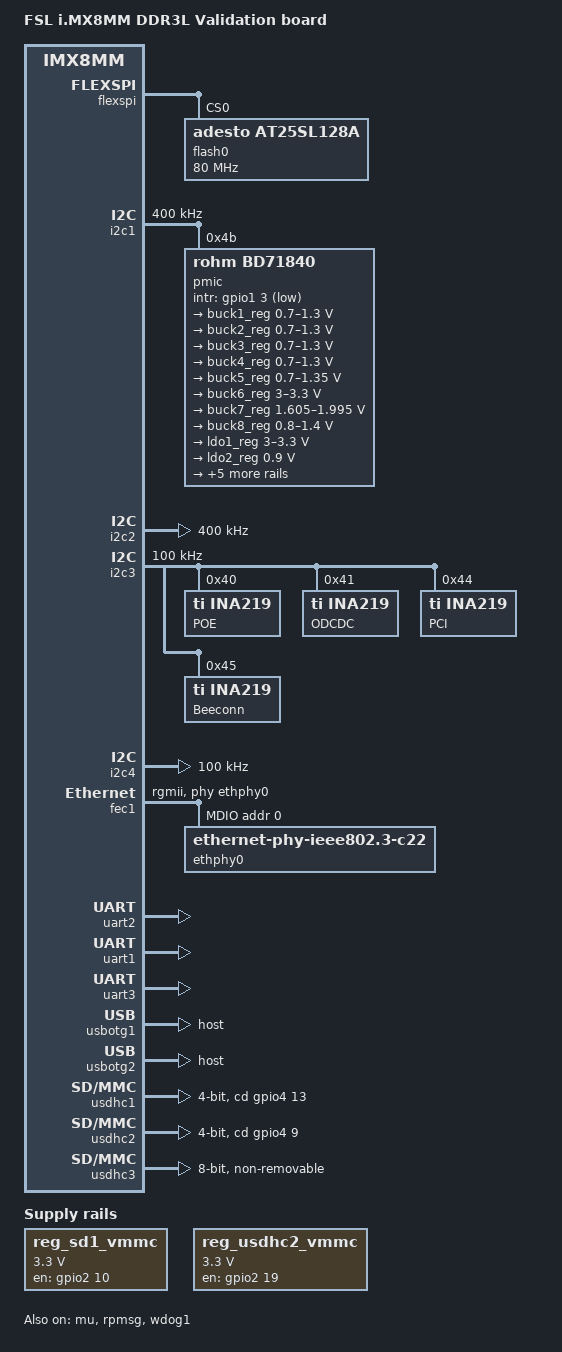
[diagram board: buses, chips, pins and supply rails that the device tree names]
// SPDX-License-Identifier: GPL-2.0+
 /*
  * KO (no debug)
  * No pull down on usdhc1
  * No 100 and 200 MHz for usdhc1 and 2
  * SD card work with no max-frequency , but module need at leat 20MHz (usdhc1 + usdhc2)
  */

/dts-v1/;

#include "fsl-imx8mm.dtsi"

/ {
	model = "FSL i.MX8MM DDR3L Validation board";
	compatible = "fsl,imx8mm-val", "fsl,imx8mm";

	chosen {
		bootargs = "console=ttymxc1,115200 earlycon=ec_imx6q,0x30890000,115200";
		stdout-path = &uart2;
	};

	regulators {
		compatible = "simple-bus";
		#address-cells = <1>;
		#size-cells = <0>;

		reg_sd1_vmmc: sd1_regulator {
			compatible = "regulator-fixed";
			regulator-name = "WLAN_EN";
			regulator-min-microvolt = <3300000>;
			regulator-max-microvolt = <3300000>;
			gpio = <&gpio2 10 GPIO_ACTIVE_HIGH>;
			off-on-delay = <20000>;
			startup-delay-us = <100>;
			enable-active-high;
		};

		reg_usdhc2_vmmc: regulator-usdhc2 {
			compatible = "regulator-fixed";
			regulator-name = "VSD_3V3";
			regulator-min-microvolt = <3300000>;
			regulator-max-microvolt = <3300000>;
			gpio = <&gpio2 19 GPIO_ACTIVE_HIGH>;
			enable-active-high;
		};
	};

	busfreq {
		status = "disabled";
	};
};

&iomuxc {
	pinctrl-names = "default";

	imx8mm-val {

		pinctrl_fec1: fec1grp {
			fsl,pins = <
				MX8MM_IOMUXC_ENET_MDC_ENET1_MDC		0x3
				MX8MM_IOMUXC_ENET_MDIO_ENET1_MDIO	0x3
				MX8MM_IOMUXC_ENET_TD3_ENET1_RGMII_TD3	0x1f
				MX8MM_IOMUXC_ENET_TD2_ENET1_RGMII_TD2	0x1f
				MX8MM_IOMUXC_ENET_TD1_ENET1_RGMII_TD1	0x1f
				MX8MM_IOMUXC_ENET_TD0_ENET1_RGMII_TD0	0x1f
				MX8MM_IOMUXC_ENET_RD3_ENET1_RGMII_RD3	0x91
				MX8MM_IOMUXC_ENET_RD2_ENET1_RGMII_RD2	0x91
				MX8MM_IOMUXC_ENET_RD1_ENET1_RGMII_RD1	0x91
				MX8MM_IOMUXC_ENET_RD0_ENET1_RGMII_RD0	0x91
				MX8MM_IOMUXC_ENET_TXC_ENET1_RGMII_TXC	0x1f
				MX8MM_IOMUXC_ENET_RXC_ENET1_RGMII_RXC	0x91
				MX8MM_IOMUXC_ENET_RX_CTL_ENET1_RGMII_RX_CTL	0x91
				MX8MM_IOMUXC_ENET_TX_CTL_ENET1_RGMII_TX_CTL	0x1f
				MX8MM_IOMUXC_GPIO1_IO08_GPIO1_IO8	0x19
			>;
		};

		pinctrl_flexspi0: flexspi0grp {
			fsl,pins = <
				MX8MM_IOMUXC_NAND_ALE_QSPI_A_SCLK		0x1c2
				MX8MM_IOMUXC_NAND_CE0_B_QSPI_A_SS0_B		0x82
				MX8MM_IOMUXC_NAND_DATA00_QSPI_A_DATA0		0x82
				MX8MM_IOMUXC_NAND_DATA01_QSPI_A_DATA1		0x82
				MX8MM_IOMUXC_NAND_DATA02_QSPI_A_DATA2		0x82
				MX8MM_IOMUXC_NAND_DATA03_QSPI_A_DATA3		0x82
			>;
		};

		pinctrl_i2c1: i2c1grp {
			fsl,pins = <
				MX8MM_IOMUXC_I2C1_SCL_I2C1_SCL			0x400001c3
				MX8MM_IOMUXC_I2C1_SDA_I2C1_SDA			0x400001c3
			>;
		};

		pinctrl_i2c2: i2c2grp {
			fsl,pins = <
				MX8MM_IOMUXC_I2C2_SCL_I2C2_SCL			0x400001c3
				MX8MM_IOMUXC_I2C2_SDA_I2C2_SDA			0x400001c3
			>;
		};

		pinctrl_i2c3: i2c3grp {
			fsl,pins = <
				MX8MM_IOMUXC_I2C3_SCL_I2C3_SCL			0x400001c3
				MX8MM_IOMUXC_I2C3_SDA_I2C3_SDA			0x400001c3
			>;
		};

		pinctrl_i2c4: i2c4grp {
			fsl,pins = <
				MX8MM_IOMUXC_I2C4_SCL_I2C4_SCL			0x400001c3
				MX8MM_IOMUXC_I2C4_SDA_I2C4_SDA			0x400001c3
			>;
		};

		pinctrl_pmic: pmicirq {
			fsl,pins = <
				MX8MM_IOMUXC_GPIO1_IO03_GPIO1_IO3		0x41
			>;
		};


		pinctrl_uart1: uart1grp {
			fsl,pins = <
				MX8MM_IOMUXC_UART1_RXD_UART1_DCE_RX	0x140
				MX8MM_IOMUXC_UART1_TXD_UART1_DCE_TX	0x140
				MX8MM_IOMUXC_UART3_RXD_UART1_DCE_CTS_B	0x140
				MX8MM_IOMUXC_UART3_TXD_UART1_DCE_RTS_B	0x140
			>;
		};


		pinctrl_uart2: uart2grp {
			fsl,pins = <
				MX8MM_IOMUXC_UART2_RXD_UART2_DCE_RX	0x140
				MX8MM_IOMUXC_UART2_TXD_UART2_DCE_TX	0x140
			>;
		};

		pinctrl_uart3: uart3grp {
			fsl,pins = <
				MX8MM_IOMUXC_ECSPI1_SCLK_UART3_DCE_RX		0x140
				MX8MM_IOMUXC_ECSPI1_MOSI_UART3_DCE_TX		0x140
				MX8MM_IOMUXC_ECSPI1_SS0_UART3_DCE_RTS_B		0x140
				MX8MM_IOMUXC_ECSPI1_MISO_UART3_DCE_CTS_B	0x140
			>;
		};

		pinctrl_usdhc1_gpio: usdhc1grpgpio {
			fsl,pins = <
				MX8MM_IOMUXC_SAI1_TXD1_GPIO4_IO13	0x1c4
			>;
		};

		pinctrl_usdhc1: usdhc1grp {
			fsl,pins = <
				MX8MM_IOMUXC_SD1_CLK_USDHC1_CLK		0x190
				MX8MM_IOMUXC_SD1_CMD_USDHC1_CMD		0x1d0
				MX8MM_IOMUXC_SD1_DATA0_USDHC1_DATA0	0x1d0
				MX8MM_IOMUXC_SD1_DATA1_USDHC1_DATA1	0x1d0
				MX8MM_IOMUXC_SD1_DATA2_USDHC1_DATA2	0x1d0
				MX8MM_IOMUXC_SD1_DATA3_USDHC1_DATA3	0x1d0
			>;
		};


		pinctrl_usdhc2_gpio: usdhc2grpgpio {
			fsl,pins = <
				MX8MM_IOMUXC_SAI1_RXD7_GPIO4_IO9	0x1c4
			>;
		};

		pinctrl_usdhc2: usdhc2grp {
			fsl,pins = <
				MX8MM_IOMUXC_SD2_CLK_USDHC2_CLK		0x190
				MX8MM_IOMUXC_SD2_CMD_USDHC2_CMD		0x1d0
				MX8MM_IOMUXC_SD2_DATA0_USDHC2_DATA0	0x1d0
				MX8MM_IOMUXC_SD2_DATA1_USDHC2_DATA1	0x1d0
				MX8MM_IOMUXC_SD2_DATA2_USDHC2_DATA2	0x1d0
				MX8MM_IOMUXC_SD2_DATA3_USDHC2_DATA3	0x1d0
				MX8MM_IOMUXC_GPIO1_IO04_USDHC2_VSELECT	0x1d0
			>;
		};


		pinctrl_usdhc3: usdhc3grp {
			fsl,pins = <
				MX8MM_IOMUXC_NAND_WE_B_USDHC3_CLK		0x190
				MX8MM_IOMUXC_NAND_WP_B_USDHC3_CMD		0x1d0
				MX8MM_IOMUXC_NAND_DATA04_USDHC3_DATA0		0x1d0
				MX8MM_IOMUXC_NAND_DATA05_USDHC3_DATA1		0x1d0
				MX8MM_IOMUXC_NAND_DATA06_USDHC3_DATA2		0x1d0
				MX8MM_IOMUXC_NAND_DATA07_USDHC3_DATA3		0x1d0
				MX8MM_IOMUXC_NAND_RE_B_USDHC3_DATA4		0x1d0
				MX8MM_IOMUXC_NAND_CE2_B_USDHC3_DATA5		0x1d0
				MX8MM_IOMUXC_NAND_CE3_B_USDHC3_DATA6		0x1d0
				MX8MM_IOMUXC_NAND_CLE_USDHC3_DATA7		0x1d0
				MX8MM_IOMUXC_NAND_CE1_B_USDHC3_STROBE 		0x190
			>;
		};

		pinctrl_usdhc3_100mhz: usdhc3grp100mhz {
			fsl,pins = <
				MX8MM_IOMUXC_NAND_WE_B_USDHC3_CLK		0x194
				MX8MM_IOMUXC_NAND_WP_B_USDHC3_CMD		0x1d4
				MX8MM_IOMUXC_NAND_DATA04_USDHC3_DATA0		0x1d4
				MX8MM_IOMUXC_NAND_DATA05_USDHC3_DATA1		0x1d4
				MX8MM_IOMUXC_NAND_DATA06_USDHC3_DATA2		0x1d4
				MX8MM_IOMUXC_NAND_DATA07_USDHC3_DATA3		0x1d4
				MX8MM_IOMUXC_NAND_RE_B_USDHC3_DATA4		0x1d4
				MX8MM_IOMUXC_NAND_CE2_B_USDHC3_DATA5		0x1d4
				MX8MM_IOMUXC_NAND_CE3_B_USDHC3_DATA6		0x1d4
				MX8MM_IOMUXC_NAND_CLE_USDHC3_DATA7		0x1d4
				MX8MM_IOMUXC_NAND_CE1_B_USDHC3_STROBE 		0x194
			>;
		};

		pinctrl_usdhc3_200mhz: usdhc3grp200mhz {
			fsl,pins = <
				MX8MM_IOMUXC_NAND_WE_B_USDHC3_CLK		0x196
				MX8MM_IOMUXC_NAND_WP_B_USDHC3_CMD		0x1d6
				MX8MM_IOMUXC_NAND_DATA04_USDHC3_DATA0		0x1d6
				MX8MM_IOMUXC_NAND_DATA05_USDHC3_DATA1		0x1d6
				MX8MM_IOMUXC_NAND_DATA06_USDHC3_DATA2		0x1d6
				MX8MM_IOMUXC_NAND_DATA07_USDHC3_DATA3		0x1d6
				MX8MM_IOMUXC_NAND_RE_B_USDHC3_DATA4		0x1d6
				MX8MM_IOMUXC_NAND_CE2_B_USDHC3_DATA5		0x1d6
				MX8MM_IOMUXC_NAND_CE3_B_USDHC3_DATA6		0x1d6
				MX8MM_IOMUXC_NAND_CLE_USDHC3_DATA7		0x1d6
				MX8MM_IOMUXC_NAND_CE1_B_USDHC3_STROBE 		0x196
			>;
		};

		pinctrl_wdog: wdoggrp {
			fsl,pins = <
				MX8MM_IOMUXC_GPIO1_IO02_WDOG1_WDOG_B		0xc6
			>;
		};
	};
};

&flexspi {
	pinctrl-names = "default";
	pinctrl-0 = <&pinctrl_flexspi0>;
	status = "okay";

	flash0: at25sl128a@0 {
		reg = <0>;
		#address-cells = <1>;
		#size-cells = <1>;
		compatible = "adesto,at25sl128a";
		spi-max-frequency = <80000000>;
		spi-nor,ddr-quad-read-dummy = <6>;
	};
};


&i2c1 {
	clock-frequency = <400000>;
	pinctrl-names = "default";
	pinctrl-0 = <&pinctrl_i2c1>;
	status = "okay";

	pmic: bd71837@4b {
		reg = <0x4b>;
		compatible = "rohm,bd71840", "rohm,bd71837";
		/* PMIC BD71837 PMIC_nINT GPIO1_IO3 */
		pinctrl-0 = <&pinctrl_pmic>;
		gpio_intr = <&gpio1 3 GPIO_ACTIVE_LOW>;

		gpo {
			rohm,drv = <0x0C>;	/* 0b0000_1100 all gpos with cmos output mode */
		};

		regulators {
			#address-cells = <1>;
			#size-cells = <0>;

			bd71837,pmic-buck2-uses-i2c-dvs;
			bd71837,pmic-buck2-dvs-voltage = <1000000>, <900000>, <0>; /* VDD_ARM: Run-Idle */

			buck1_reg: regulator@0 {
				reg = <0>;
				regulator-compatible = "buck1";
				regulator-min-microvolt = <700000>;
				regulator-max-microvolt = <1300000>;
				regulator-boot-on;
				regulator-always-on;
				regulator-ramp-delay = <1250>;
			};

			buck2_reg: regulator@1 {
				reg = <1>;
				regulator-compatible = "buck2";
				regulator-min-microvolt = <700000>;
				regulator-max-microvolt = <1300000>;
				regulator-boot-on;
				regulator-always-on;
				regulator-ramp-delay = <1250>;
			};

			buck3_reg: regulator@2 {
				reg = <2>;
				regulator-compatible = "buck3";
				regulator-min-microvolt = <700000>;
				regulator-max-microvolt = <1300000>;
			};

			buck4_reg: regulator@3 {
				reg = <3>;
				regulator-compatible = "buck4";
				regulator-min-microvolt = <700000>;
				regulator-max-microvolt = <1300000>;
			};

			buck5_reg: regulator@4 {
				reg = <4>;
				regulator-compatible = "buck5";
				regulator-min-microvolt = <700000>;
				regulator-max-microvolt = <1350000>;
				regulator-boot-on;
				regulator-always-on;
			};

			buck6_reg: regulator@5 {
				reg = <5>;
				regulator-compatible = "buck6";
				regulator-min-microvolt = <3000000>;
				regulator-max-microvolt = <3300000>;
				regulator-boot-on;
				regulator-always-on;
			};

			buck7_reg: regulator@6 {
				reg = <6>;
				regulator-compatible = "buck7";
				regulator-min-microvolt = <1605000>;
				regulator-max-microvolt = <1995000>;
				regulator-boot-on;
				regulator-always-on;
			};

			buck8_reg: regulator@7 {
				reg = <7>;
				regulator-compatible = "buck8";
				regulator-min-microvolt = <800000>;
				regulator-max-microvolt = <1400000>;
				regulator-boot-on;
				regulator-always-on;
			};

			ldo1_reg: regulator@8 {
				reg = <8>;
				regulator-compatible = "ldo1";
				regulator-min-microvolt = <3000000>;
				regulator-max-microvolt = <3300000>;
				regulator-boot-on;
				regulator-always-on;
			};

			ldo2_reg: regulator@9 {
				reg = <9>;
				regulator-compatible = "ldo2";
				regulator-min-microvolt = <900000>;
				regulator-max-microvolt = <900000>;
				regulator-boot-on;
				regulator-always-on;
			};

			ldo3_reg: regulator@10 {
				reg = <10>;
				regulator-compatible = "ldo3";
				regulator-min-microvolt = <1800000>;
				regulator-max-microvolt = <3300000>;
				regulator-boot-on;
				regulator-always-on;
			};

			ldo4_reg: regulator@11 {
				reg = <11>;
				regulator-compatible = "ldo4";
				regulator-min-microvolt = <900000>;
				regulator-max-microvolt = <1800000>;
				regulator-boot-on;
				regulator-always-on;
			};

			ldo5_reg: regulator@12 {
				reg = <12>;
				regulator-compatible = "ldo5";
				regulator-min-microvolt = <1800000>;
				regulator-max-microvolt = <3300000>;
			};

			ldo6_reg: regulator@13 {
				reg = <13>;
				regulator-compatible = "ldo6";
				regulator-min-microvolt = <900000>;
				regulator-max-microvolt = <1800000>;
				regulator-boot-on;
				regulator-always-on;
			};

			ldo7_reg: regulator@14 {
				reg = <14>;
				regulator-compatible = "ldo7";
				regulator-min-microvolt = <1800000>;
				regulator-max-microvolt = <3300000>;
			};
		};
	};
};

&i2c2 {
	clock-frequency = <400000>;
	pinctrl-names = "default";
	pinctrl-0 = <&pinctrl_i2c2>;
	status = "okay";
};

&i2c3 {
	clock-frequency = <100000>;
	pinctrl-names = "default";
	pinctrl-0 = <&pinctrl_i2c3>;
	status = "okay";
	
	POE@40 {
	compatible = "ti,ina219";
	reg = <0x40>;
	shunt-resistor = <20000>;
	};

	ODCDC@41 {
	compatible = "ti,ina219";
	reg = <0x41>;
	shunt-resistor = <20000>;
	};
	
	PCI@44 {
	compatible = "ti,ina219";
	reg = <0x44>;
	shunt-resistor = <20000>;
	};

	Beeconn@45 {
	compatible = "ti,ina219";
	reg = <0x45>;
	shunt-resistor = <20000>;
	};
};



&i2c4 {
	clock-frequency = <100000>;
	pinctrl-names = "default";
	pinctrl-0 = <&pinctrl_i2c4>;
	status = "okay";
};


&mu {
	status = "okay";
};

&rpmsg{
	/*
	 * 64K for one rpmsg instance:
	 * --0xb8000000~0xb800ffff: pingpong
	 */
	vdev-nums = <1>;
	reg = <0x0 0xb8000000 0x0 0x10000>;
	status = "okay";
};

&fec1 {
	pinctrl-names = "default";
	pinctrl-0 = <&pinctrl_fec1>;
	phy-mode = "rgmii";
	phy-handle = <&ethphy0>;
	fsl,magic-packet;
	status = "okay";

	mdio {
		#address-cells = <1>;
		#size-cells = <0>;

		ethphy0: ethernet-phy@0 {
			compatible = "ethernet-phy-ieee802.3-c22";
			reg = <0>;
		};
	};
};

&uart2 { /* console */
	pinctrl-names = "default";
	pinctrl-0 = <&pinctrl_uart2>;
	status = "okay";
};

&uart1 {
	pinctrl-names = "default";
	pinctrl-0 = <&pinctrl_uart1>;
	assigned-clocks = <&clk IMX8MM_CLK_UART1>;
	assigned-clock-parents = <&clk IMX8MM_SYS_PLL1_80M>;
	fsl,uart-has-rtscts;
	status = "okay";
};

&uart3 {
	pinctrl-names = "default";
	pinctrl-0 = <&pinctrl_uart3>;
	assigned-clocks = <&clk IMX8MM_CLK_UART3>;
	assigned-clock-parents = <&clk IMX8MM_SYS_PLL1_80M>;
	fsl,uart-has-rtscts;
	status = "okay";
};

&usbotg1 {
	dr_mode = "host";
	status = "okay";
};

&usbotg2 {
	dr_mode = "host";
	status = "okay";
};

&usdhc1 {
	pinctrl-names = "default";
	pinctrl-0 = <&pinctrl_usdhc1>, <&pinctrl_usdhc1_gpio>;
	bus-width = <4>;
	cd-gpios = <&gpio4 13 GPIO_ACTIVE_HIGH>;
	no-1-8-v;
	pm-ignore-notify;
	keep-power-in-suspend;
	status = "okay";
};

&usdhc2 {
	pinctrl-names = "default";
	pinctrl-0 = <&pinctrl_usdhc2>, <&pinctrl_usdhc2_gpio>;
	bus-width = <4>;
	max-frequency = <20000000>;
	cd-gpios = <&gpio4 9 GPIO_ACTIVE_HIGH>;
	status = "okay";
	no-1-8-v;
};
&usdhc3 {
	pinctrl-names = "default", "state_100mhz", "state_200mhz";
	pinctrl-0 = <&pinctrl_usdhc3>;
	pinctrl-1 = <&pinctrl_usdhc3_100mhz>;
	pinctrl-2 = <&pinctrl_usdhc3_200mhz>;
	bus-width = <8>;
	non-removable;
	status = "okay";
};

&wdog1 {
	pinctrl-names = "default";
	pinctrl-0 = <&pinctrl_wdog>;
	fsl,ext-reset-output;
	status = "okay";
	nand-on-flash-bbt;
};

&A53_0 {
	arm-supply = <&buck2_reg>;
};


